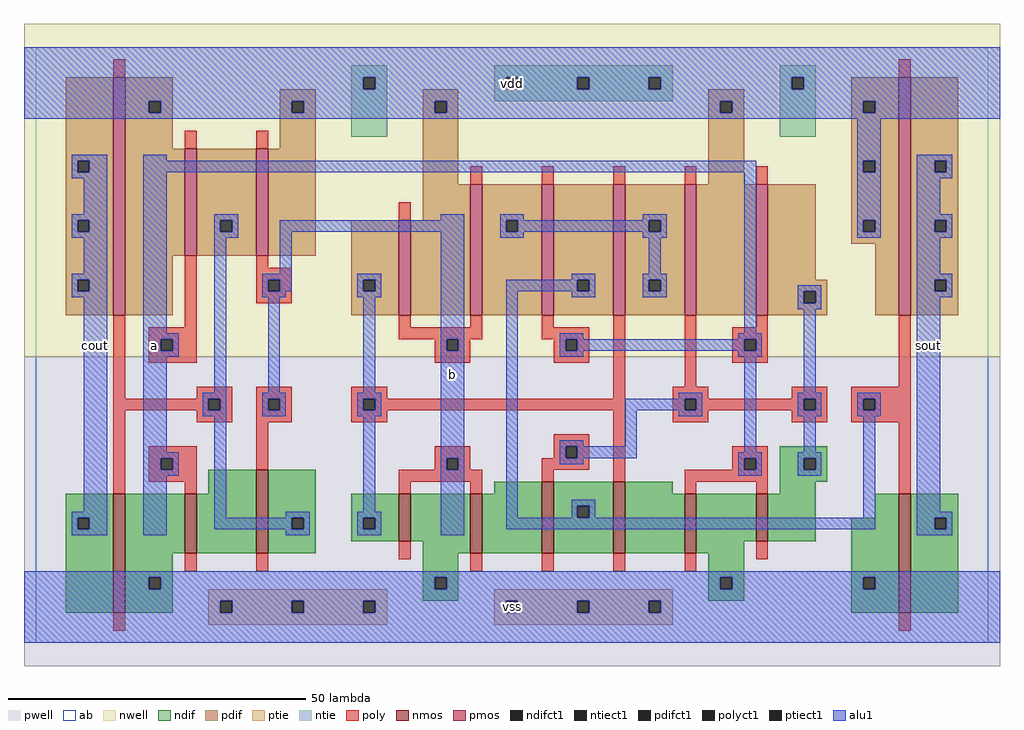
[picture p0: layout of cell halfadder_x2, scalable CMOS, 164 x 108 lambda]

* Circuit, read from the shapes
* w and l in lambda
.subckt halfadder_x2 a b cout sout vdd vss
M1 vss n1 cout vss nfet w=20 l=2
M2 n2 a vss vss nfet w=10 l=2
M3 n1 b n2 vss nfet w=14 l=2
M4 vss b n3 vss nfet w=8 l=2
M5 n4 b vss vss nfet w=10 l=2
M6 n5 n6 n4 vss nfet w=12 l=2
M7 n7 n3 n5 vss nfet w=12 l=2
M8 vss a n7 vss nfet w=10 l=2
M9 n6 a vss vss nfet w=8 l=2
M10 sout n5 vss vss nfet w=20 l=2
M11 vdd n1 cout vdd pfet w=40 l=2
M12 n1 a vdd vdd pfet w=18 l=2
M13 vdd b n1 vdd pfet w=18 l=2
M14 vdd b n3 vdd pfet w=16 l=2
M15 n8 b vdd vdd pfet w=22 l=2
M16 n5 a n8 vdd pfet w=22 l=2
M17 n8 n3 n5 vdd pfet w=22 l=2
M18 vdd n6 n8 vdd pfet w=22 l=2
M19 n6 a vdd vdd pfet w=22 l=2
M20 sout n5 vdd vdd pfet w=40 l=2
.ends

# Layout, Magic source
magic
tech scmos
<< ab >>
rect 0 0 160 100
<< nwell >>
rect -2 48 162 104
<< pwell >>
rect -2 -4 162 48
<< poly >>
rect 13 95 15 98
rect 145 95 147 98
rect 25 83 27 86
rect 37 83 39 86
rect 73 77 75 80
rect 85 77 87 80
rect 97 77 99 80
rect 109 77 111 80
rect 121 77 123 80
rect 61 71 63 74
rect 13 41 15 55
rect 25 53 27 65
rect 37 63 39 65
rect 37 61 43 63
rect 37 59 39 61
rect 41 59 43 61
rect 37 57 43 59
rect 19 51 27 53
rect 61 53 63 55
rect 73 53 75 55
rect 61 51 75 53
rect 85 53 87 55
rect 85 51 93 53
rect 19 49 21 51
rect 23 49 27 51
rect 19 47 27 49
rect 67 49 69 51
rect 71 49 73 51
rect 67 47 73 49
rect 87 49 89 51
rect 91 49 93 51
rect 87 47 93 49
rect 27 41 33 43
rect 13 39 29 41
rect 31 39 33 41
rect 13 25 15 39
rect 27 37 33 39
rect 37 41 43 43
rect 37 39 39 41
rect 41 39 43 41
rect 37 37 43 39
rect 53 41 59 43
rect 97 41 99 55
rect 109 43 111 55
rect 121 53 123 55
rect 117 51 123 53
rect 117 49 119 51
rect 121 49 123 51
rect 117 47 123 49
rect 145 43 147 55
rect 53 39 55 41
rect 57 39 99 41
rect 53 37 59 39
rect 19 31 27 33
rect 19 29 21 31
rect 23 29 27 31
rect 37 29 39 37
rect 87 33 93 35
rect 67 31 73 33
rect 87 31 89 33
rect 91 31 93 33
rect 67 29 69 31
rect 71 29 73 31
rect 85 29 93 31
rect 19 27 27 29
rect 25 25 27 27
rect 61 27 75 29
rect 85 27 87 29
rect 97 27 99 39
rect 107 41 113 43
rect 127 41 133 43
rect 107 39 109 41
rect 111 39 129 41
rect 131 39 133 41
rect 107 37 113 39
rect 127 37 133 39
rect 137 41 147 43
rect 137 39 139 41
rect 141 39 147 41
rect 137 37 147 39
rect 117 31 123 33
rect 117 29 119 31
rect 121 29 123 31
rect 109 27 123 29
rect 61 25 63 27
rect 73 25 75 27
rect 25 12 27 15
rect 37 12 39 15
rect 61 14 63 17
rect 109 25 111 27
rect 121 25 123 27
rect 145 25 147 37
rect 73 12 75 15
rect 85 12 87 15
rect 97 12 99 15
rect 109 12 111 15
rect 121 14 123 17
rect 13 2 15 5
rect 145 2 147 5
<< ndif >>
rect 29 25 37 29
rect 5 21 13 25
rect 5 19 7 21
rect 9 19 13 21
rect 5 5 13 19
rect 15 15 25 25
rect 27 15 37 25
rect 39 21 47 29
rect 77 25 85 27
rect 39 19 43 21
rect 45 19 47 21
rect 39 15 47 19
rect 53 21 61 25
rect 53 19 55 21
rect 57 19 61 21
rect 53 17 61 19
rect 63 17 73 25
rect 15 11 23 15
rect 65 15 73 17
rect 75 15 85 25
rect 87 23 97 27
rect 87 21 91 23
rect 93 21 97 23
rect 87 15 97 21
rect 99 25 107 27
rect 125 31 133 33
rect 125 29 129 31
rect 131 29 133 31
rect 125 27 133 29
rect 125 25 131 27
rect 99 15 109 25
rect 111 17 121 25
rect 123 17 131 25
rect 141 21 145 25
rect 111 15 119 17
rect 15 9 19 11
rect 21 9 23 11
rect 65 11 71 15
rect 65 9 67 11
rect 69 9 71 11
rect 113 11 119 15
rect 113 9 115 11
rect 117 9 119 11
rect 15 5 23 9
rect 65 7 71 9
rect 113 7 119 9
rect 137 11 145 21
rect 137 9 139 11
rect 141 9 145 11
rect 137 5 145 9
rect 147 21 155 25
rect 147 19 151 21
rect 153 19 155 21
rect 147 5 155 19
<< pdif >>
rect 5 81 13 95
rect 5 79 7 81
rect 9 79 13 81
rect 5 71 13 79
rect 5 69 7 71
rect 9 69 13 71
rect 5 61 13 69
rect 5 59 7 61
rect 9 59 13 61
rect 5 55 13 59
rect 15 91 23 95
rect 15 89 19 91
rect 21 89 23 91
rect 15 83 23 89
rect 41 91 47 93
rect 41 89 43 91
rect 45 89 47 91
rect 41 83 47 89
rect 65 91 71 93
rect 113 91 119 93
rect 65 89 67 91
rect 69 89 71 91
rect 15 65 25 83
rect 27 71 37 83
rect 27 69 31 71
rect 33 69 37 71
rect 27 65 37 69
rect 39 65 47 83
rect 65 77 71 89
rect 113 89 115 91
rect 117 89 119 91
rect 113 77 119 89
rect 137 91 145 95
rect 137 89 139 91
rect 141 89 145 91
rect 137 81 145 89
rect 137 79 139 81
rect 141 79 145 81
rect 65 71 73 77
rect 15 55 23 65
rect 53 61 61 71
rect 53 59 55 61
rect 57 59 61 61
rect 53 55 61 59
rect 63 55 73 71
rect 75 71 85 77
rect 75 69 79 71
rect 81 69 85 71
rect 75 55 85 69
rect 87 61 97 77
rect 87 59 91 61
rect 93 59 97 61
rect 87 55 97 59
rect 99 71 109 77
rect 99 69 103 71
rect 105 69 109 71
rect 99 61 109 69
rect 99 59 103 61
rect 105 59 109 61
rect 99 55 109 59
rect 111 55 121 77
rect 123 61 131 77
rect 137 71 145 79
rect 137 69 139 71
rect 141 69 145 71
rect 137 67 145 69
rect 123 59 133 61
rect 123 57 129 59
rect 131 57 133 59
rect 123 55 133 57
rect 141 55 145 67
rect 147 81 155 95
rect 147 79 151 81
rect 153 79 155 81
rect 147 71 155 79
rect 147 69 151 71
rect 153 69 155 71
rect 147 61 155 69
rect 147 59 151 61
rect 153 59 155 61
rect 147 55 155 59
<< alu1 >>
rect -2 95 162 100
rect -2 93 55 95
rect 57 93 79 95
rect 81 93 91 95
rect 93 93 103 95
rect 105 93 127 95
rect 129 93 162 95
rect -2 91 162 93
rect -2 89 19 91
rect 21 89 43 91
rect 45 89 67 91
rect 69 89 115 91
rect 117 89 139 91
rect 141 89 162 91
rect -2 88 162 89
rect 6 81 12 82
rect 6 79 7 81
rect 9 79 12 81
rect 6 78 12 79
rect 8 72 12 78
rect 6 71 12 72
rect 6 69 7 71
rect 9 69 12 71
rect 6 68 12 69
rect 8 62 12 68
rect 6 61 12 62
rect 6 59 7 61
rect 9 59 12 61
rect 6 58 12 59
rect 8 22 12 58
rect 6 21 12 22
rect 6 19 7 21
rect 9 19 12 21
rect 6 18 12 19
rect 18 81 22 82
rect 138 81 142 88
rect 18 79 121 81
rect 18 52 22 79
rect 30 71 34 72
rect 68 71 72 72
rect 30 69 31 71
rect 33 69 34 71
rect 30 68 34 69
rect 41 69 72 71
rect 18 51 24 52
rect 18 49 21 51
rect 23 49 24 51
rect 18 48 24 49
rect 18 32 22 48
rect 30 42 32 68
rect 41 62 43 69
rect 38 61 43 62
rect 38 59 39 61
rect 41 59 43 61
rect 54 61 58 62
rect 54 59 55 61
rect 57 59 58 61
rect 38 58 42 59
rect 54 58 58 59
rect 39 42 41 58
rect 55 42 57 58
rect 68 51 72 69
rect 78 71 82 72
rect 102 71 106 72
rect 78 69 79 71
rect 81 69 103 71
rect 105 69 106 71
rect 78 68 82 69
rect 102 68 106 69
rect 103 62 105 68
rect 90 61 94 62
rect 68 49 69 51
rect 71 49 72 51
rect 28 41 32 42
rect 28 39 29 41
rect 31 39 32 41
rect 28 38 32 39
rect 38 41 42 42
rect 38 39 39 41
rect 41 39 42 41
rect 38 38 42 39
rect 54 41 58 42
rect 54 39 55 41
rect 57 39 58 41
rect 54 38 58 39
rect 18 31 24 32
rect 18 29 21 31
rect 23 29 24 31
rect 18 28 24 29
rect 18 18 22 28
rect 30 21 32 38
rect 55 22 57 38
rect 68 31 72 49
rect 68 29 69 31
rect 71 29 72 31
rect 42 21 46 22
rect 30 19 43 21
rect 45 19 46 21
rect 42 18 46 19
rect 54 21 58 22
rect 54 19 55 21
rect 57 19 58 21
rect 54 18 58 19
rect 68 18 72 29
rect 79 59 91 61
rect 93 59 94 61
rect 79 21 81 59
rect 90 58 94 59
rect 102 61 106 62
rect 102 59 103 61
rect 105 59 106 61
rect 102 58 106 59
rect 119 52 121 79
rect 138 79 139 81
rect 141 79 142 81
rect 138 71 142 79
rect 138 69 139 71
rect 141 69 142 71
rect 138 68 142 69
rect 148 81 154 82
rect 148 79 151 81
rect 153 79 154 81
rect 148 78 154 79
rect 148 72 152 78
rect 148 71 154 72
rect 148 69 151 71
rect 153 69 154 71
rect 148 68 154 69
rect 148 62 152 68
rect 148 61 154 62
rect 128 59 132 60
rect 128 57 129 59
rect 131 57 132 59
rect 128 56 132 57
rect 148 59 151 61
rect 153 59 154 61
rect 148 58 154 59
rect 88 51 92 52
rect 118 51 122 52
rect 88 49 89 51
rect 91 49 119 51
rect 121 49 122 51
rect 88 48 92 49
rect 118 48 122 49
rect 108 41 112 42
rect 99 39 109 41
rect 111 39 112 41
rect 88 33 92 34
rect 99 33 101 39
rect 108 38 112 39
rect 88 31 89 33
rect 91 31 101 33
rect 119 32 121 48
rect 129 42 131 56
rect 128 41 132 42
rect 128 39 129 41
rect 131 39 132 41
rect 128 38 132 39
rect 138 41 142 42
rect 138 39 139 41
rect 141 39 142 41
rect 138 38 142 39
rect 129 32 131 38
rect 118 31 122 32
rect 88 30 92 31
rect 118 29 119 31
rect 121 29 122 31
rect 118 28 122 29
rect 128 31 132 32
rect 128 29 129 31
rect 131 29 132 31
rect 128 28 132 29
rect 90 23 94 24
rect 90 21 91 23
rect 93 21 94 23
rect 139 21 141 38
rect 79 19 141 21
rect 148 22 152 58
rect 148 21 154 22
rect 148 19 151 21
rect 153 19 154 21
rect 148 18 154 19
rect -2 11 162 12
rect -2 9 19 11
rect 21 9 67 11
rect 69 9 115 11
rect 117 9 139 11
rect 141 9 162 11
rect -2 7 162 9
rect -2 5 31 7
rect 33 5 43 7
rect 45 5 55 7
rect 57 5 79 7
rect 81 5 91 7
rect 93 5 103 7
rect 105 5 162 7
rect -2 0 162 5
<< ptie >>
rect 29 7 59 9
rect 77 7 107 9
rect 29 5 31 7
rect 33 5 43 7
rect 45 5 55 7
rect 57 5 59 7
rect 29 3 59 5
rect 77 5 79 7
rect 81 5 91 7
rect 93 5 103 7
rect 105 5 107 7
rect 77 3 107 5
<< ntie >>
rect 53 95 59 97
rect 53 93 55 95
rect 57 93 59 95
rect 77 95 107 97
rect 77 93 79 95
rect 81 93 91 95
rect 93 93 103 95
rect 105 93 107 95
rect 125 95 131 97
rect 125 93 127 95
rect 129 93 131 95
rect 53 85 59 93
rect 77 91 107 93
rect 125 85 131 93
<< nmos >>
rect 13 5 15 25
rect 25 15 27 25
rect 37 15 39 29
rect 61 17 63 25
rect 73 15 75 25
rect 85 15 87 27
rect 97 15 99 27
rect 109 15 111 25
rect 121 17 123 25
rect 145 5 147 25
<< pmos >>
rect 13 55 15 95
rect 25 65 27 83
rect 37 65 39 83
rect 61 55 63 71
rect 73 55 75 77
rect 85 55 87 77
rect 97 55 99 77
rect 109 55 111 77
rect 121 55 123 77
rect 145 55 147 95
<< polyct1 >>
rect 39 59 41 61
rect 21 49 23 51
rect 69 49 71 51
rect 89 49 91 51
rect 29 39 31 41
rect 39 39 41 41
rect 119 49 121 51
rect 55 39 57 41
rect 21 29 23 31
rect 89 31 91 33
rect 69 29 71 31
rect 109 39 111 41
rect 129 39 131 41
rect 139 39 141 41
rect 119 29 121 31
<< ndifct1 >>
rect 7 19 9 21
rect 43 19 45 21
rect 55 19 57 21
rect 91 21 93 23
rect 129 29 131 31
rect 19 9 21 11
rect 67 9 69 11
rect 115 9 117 11
rect 139 9 141 11
rect 151 19 153 21
<< ntiect1 >>
rect 55 93 57 95
rect 79 93 81 95
rect 91 93 93 95
rect 103 93 105 95
rect 127 93 129 95
<< ptiect1 >>
rect 31 5 33 7
rect 43 5 45 7
rect 55 5 57 7
rect 79 5 81 7
rect 91 5 93 7
rect 103 5 105 7
<< pdifct1 >>
rect 7 79 9 81
rect 7 69 9 71
rect 7 59 9 61
rect 19 89 21 91
rect 43 89 45 91
rect 67 89 69 91
rect 31 69 33 71
rect 115 89 117 91
rect 139 89 141 91
rect 139 79 141 81
rect 55 59 57 61
rect 79 69 81 71
rect 91 59 93 61
rect 103 69 105 71
rect 103 59 105 61
rect 139 69 141 71
rect 129 57 131 59
rect 151 79 153 81
rect 151 69 153 71
rect 151 59 153 61
<< labels >>
rlabel alu1 10 50 10 50 6 cout
rlabel alu1 20 50 20 50 6 a
rlabel ptiect1 80 6 80 6 6 vss
rlabel alu1 70 45 70 45 6 b
rlabel ntiect1 80 94 80 94 6 vdd
rlabel alu1 150 50 150 50 6 sout
<< end >>
